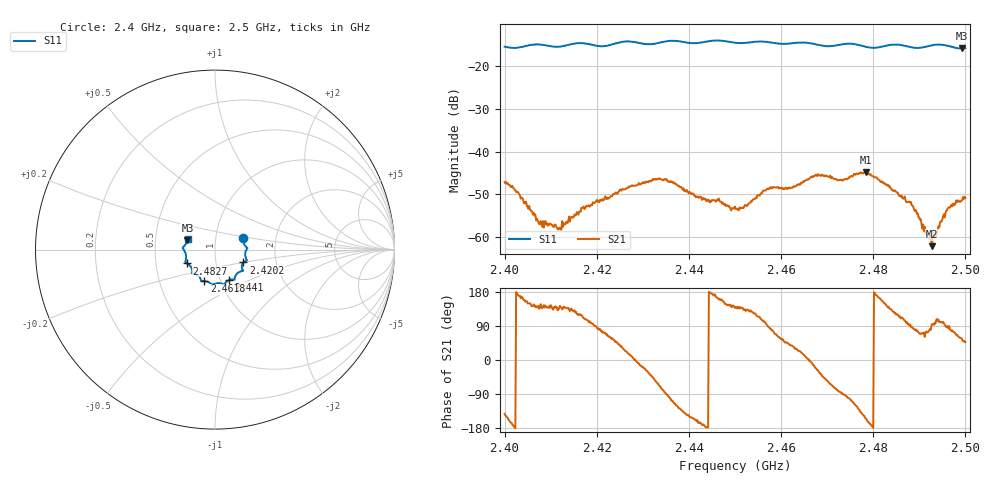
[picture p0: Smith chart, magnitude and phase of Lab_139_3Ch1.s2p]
# Hz S RI R 50
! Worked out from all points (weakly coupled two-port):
!   601 points, 2.4 GHz to 2.5 GHz, reference 50 ohm
!   highest |S21| = -44.81 dB at 2.4783 GHz (marker M1); lowest = -62.2 dB at 2.4927 GHz (marker M2)
!   lowest |S11| = -15.8 dB at 2.4993 GHz (marker M3), VSWR 1.39, Z = 36.5 + j3.85 ohm
!   |S11| at or under -10 dB: start of sweep to end of sweep
!   S12 and S22 are empty: the file has one direction only
!   S11 on the Smith chart (normalised r, x): 2.4 GHz: 1.36, +0.18; 2.4202 GHz: 1.36, -0.20; 2.441 GHz: 1.10, -0.39; 2.4618 GHz: 0.84, -0.30; 2.4827 GHz: 0.72, -0.12; 2.5 GHz: 0.73, +0.09
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2.4e9  0.1583 0.0627  -0.00344 -0.0027  0 0  0 0
2.402667e9  0.1621 0.0313  -0.00339 0.00019  0 0  0 0
2.408e9  0.1794 0.00651  -0.00105 0.000963  0 0  0 0
2.411833e9  0.1682 -0.0261  -0.000919 0.000876  0 0  0 0
2.416667e9  0.1775 -0.0606  -0.00102 0.00195  0 0  0 0
2.420167e9  0.1583 -0.0713  0.000361 0.00265  0 0  0 0
2.433333e9  0.1119 -0.1509  0.00218 -0.00424  0 0  0 0
2.441e9  0.0785 -0.1697  -0.00286 -0.0014  0 0  0 0
2.45e9  0.0282 -0.1874  -0.00166 0.00154  0 0  0 0
2.452167e9  0.00639 -0.1883  -0.00163 0.0017  0 0  0 0
2.4575e9  -0.0222 -0.1904  0.000318 0.0037  0 0  0 0
2.461833e9  -0.0592 -0.1757  0.00291 0.00242  0 0  0 0
2.466667e9  -0.0785 -0.1683  0.00495 -0.000593  0 0  0 0
2.473e9  -0.1199 -0.1347  0.000279 -0.00468  0 0  0 0
2.478333e9  -0.1276 -0.1122  -0.00517 -0.0025  0 0  0 0
2.482667e9  -0.1561 -0.0774  -0.00351 0.00231  0 0  0 0
2.483333e9  -0.1604 -0.0754  -0.00301 0.00247  0 0  0 0
2.488167e9  -0.161 -0.0475  0.000115 0.00256  0 0  0 0
2.492667e9  -0.1765 0.00263  -3.79e-05 0.000776  0 0  0 0
2.496333e9  -0.1726 0.0185  0.000251 0.00218  0 0  0 0
2.499333e9  -0.1538 0.0514  0.00166 0.00212  0 0  0 0
2.5e9  -0.1521 0.0607  0.00194 0.0021  0 0  0 0
